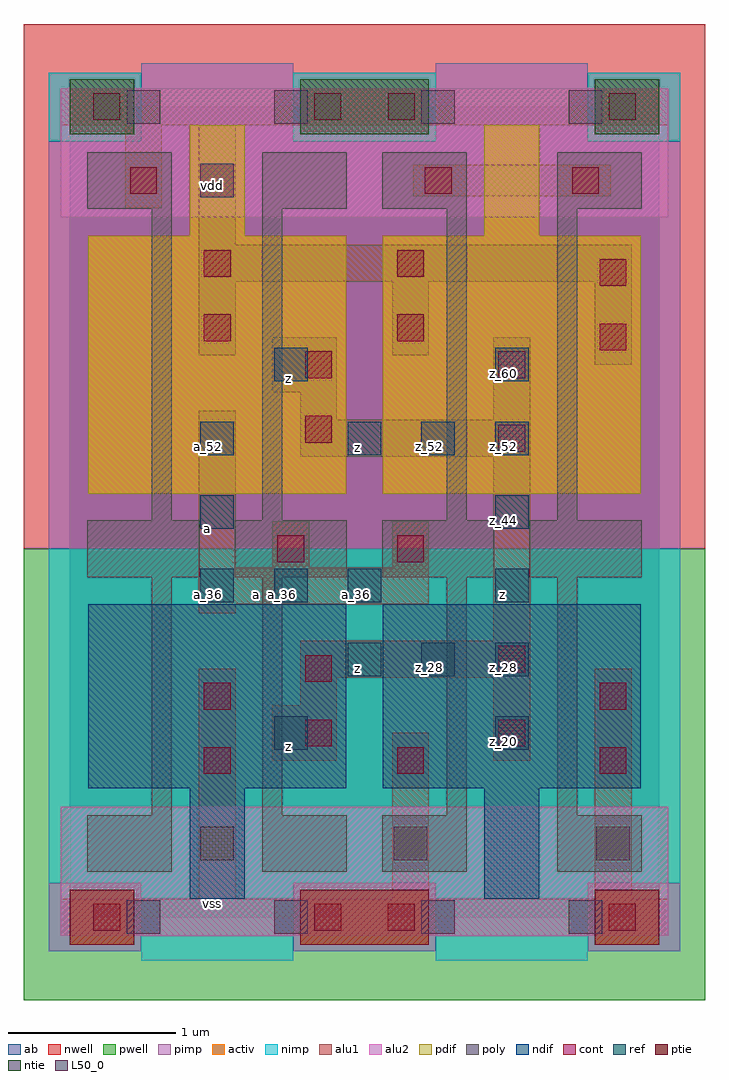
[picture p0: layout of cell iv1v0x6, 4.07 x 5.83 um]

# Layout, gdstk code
import gdstk
lib = gdstk.Library(unit=1e-6, precision=2.5e-09)
def R(c, l, rs):  # rectangles x0, y0, x1, y1
    for r in rs: c.add(gdstk.rectangle(r[:2], r[2:], *l))
def A(c, l, x, y, w, h, nx, ny, dx, dy):  # array of equal rectangles
    R(c, l, [(x+i*dx, y+j*dy, x+i*dx+w, y+j*dy+h) for i in range(nx) for j in range(ny)])
ndif = (3, 0)
pdif = (4, 0)
ntie = (5, 0)
ptie = (6, 0)
ref = (24, 0)
cont = (25, 0)
pwell = (41, 0)
nwell = (42, 0)
activ = (43, 0)
pimp = (44, 0)
nimp = (45, 0)
poly = (46, 0)
alu1 = (49, 0)
L50_0 = (50, 0)
alu2 = (51, 0)
ab = (63, 0)

iv1v0x6 = lib.new_cell('iv1v0x6')
R(iv1v0x6, ndif, [(0.715,0.11,1.045,0.77), (2.475,0.11,2.805,0.77), (0.11,0.77,1.65,1.87), (1.87,0.77,3.41,1.87)])
R(iv1v0x6, pdif, [(0.11,2.53,1.65,4.07), (1.87,2.53,3.41,4.07), (0.715,4.07,1.045,4.73), (2.475,4.07,2.805,4.73)])
R(iv1v0x6, ntie, [(0,4.675,0.385,5.005), (1.375,4.675,2.145,5.005), (3.135,4.675,3.52,5.005)])
R(iv1v0x6, ptie, [(0,-0.165,0.385,0.165), (1.375,-0.165,2.145,0.165), (3.135,-0.165,3.52,0.165)])
A(iv1v0x6, ref, 1.66, 1.44, 0.2, 0.2, 3, 2, 0.44, 1.32)
A(iv1v0x6, ref, 0.78, 1.88, 0.2, 0.2, 3, 1, 0.44, 0)
R(iv1v0x6, ref, [(1.22,1,1.42,1.2), (2.54,1,2.74,1.2), (2.54,1.88,2.74,2.08), (0.78,2.32,0.98,2.52), (2.54,2.32,2.74,2.52), (0.78,2.76,0.98,2.96), (1.22,3.2,1.42,3.4), (2.54,3.2,2.74,3.4)])
R(iv1v0x6, cont, [(0.14,-0.08,0.3,0.08), (1.46,-0.08,1.62,0.08), (1.9,-0.08,2.06,0.08), (3.22,-0.08,3.38,0.08), (0.8,0.855,0.96,1.015), (1.955,0.855,2.115,1.015), (3.165,0.855,3.325,1.015), (1.405,1.02,1.565,1.18), (2.56,1.02,2.72,1.18), (0.8,1.24,0.96,1.4), (3.165,1.24,3.325,1.4), (1.405,1.405,1.565,1.565), (2.56,1.46,2.72,1.62), (1.24,2.12,1.4,2.28), (1.955,2.12,2.115,2.28), (2.56,2.78,2.72,2.94), (1.405,2.835,1.565,2.995), (1.405,3.22,1.565,3.38), (2.56,3.22,2.72,3.38), (3.165,3.385,3.325,3.545), (0.8,3.44,0.96,3.6), (1.955,3.44,2.115,3.6), (3.165,3.77,3.325,3.93), (0.8,3.825,0.96,3.985), (1.955,3.825,2.115,3.985), (0.36,4.32,0.52,4.48), (2.12,4.32,2.28,4.48), (3,4.32,3.16,4.48), (0.14,4.76,0.3,4.92), (1.46,4.76,1.62,4.92), (1.9,4.76,2.06,4.92), (3.22,4.76,3.38,4.92)])
R(iv1v0x6, pwell, [(-0.275,-0.495,3.795,2.2)])
R(iv1v0x6, nwell, [(-0.275,2.2,3.795,5.335)])
R(iv1v0x6, activ, [(0,-0.165,0.385,0.165), (1.375,-0.165,2.145,0.165), (3.135,-0.165,3.52,0.165), (0.715,0.11,1.045,0.77), (2.475,0.11,2.805,0.77), (0.11,0.77,1.65,1.87), (1.87,0.77,3.41,1.87), (0.11,2.53,1.65,4.07), (1.87,2.53,3.41,4.07), (0.715,4.07,1.045,4.73), (2.475,4.07,2.805,4.73), (0,4.675,0.385,5.005), (1.375,4.675,2.145,5.005), (3.135,4.675,3.52,5.005)])
R(iv1v0x6, pimp, [(-0.125,-0.205,0.425,0.205), (1.335,-0.205,2.185,0.205), (3.095,-0.205,3.645,0.205), (-0.125,2.2,3.645,4.635), (0.425,4.635,1.335,5.1), (2.185,4.635,3.095,5.1)])
R(iv1v0x6, nimp, [(0.425,-0.26,1.335,0.205), (2.185,-0.26,3.095,0.205), (-0.125,0.205,3.645,2.2), (-0.125,4.635,0.425,5.045), (1.335,4.635,2.185,5.045), (3.095,4.635,3.645,5.045)])
A(iv1v0x6, poly, 0.105, 2.03, 0.67, 0.34, 4, 1, 0.88, 0)
R(iv1v0x6, poly, [(0.105,0.27,0.61,0.61), (1.15,0.27,1.655,0.61), (1.865,0.27,2.37,0.61), (2.91,0.27,3.415,0.61), (0.49,0.61,0.61,2.03), (1.15,0.61,1.27,2.03), (2.25,0.61,2.37,2.03), (2.91,0.61,3.03,2.03), (0.49,2.37,0.61,4.23), (1.15,2.37,1.27,4.23), (2.25,2.37,2.37,4.23), (2.91,2.37,3.03,4.23), (0.105,4.23,0.61,4.57), (1.15,4.23,1.655,4.57), (1.865,4.23,2.37,4.57), (2.91,4.23,3.415,4.57)])
R(iv1v0x6, alu1, [(-0.055,-0.11,3.575,0.11), (0.77,0.11,0.99,1.485), (1.925,0.11,2.145,1.1), (3.135,0.11,3.355,1.485), (1.21,0.935,1.595,1.265), (2.53,0.935,2.75,1.43), (1.375,1.265,1.595,1.43), (1.375,1.43,2.75,1.65), (2.53,1.65,2.75,2.75), (0.77,1.815,0.99,1.87), (0.77,1.87,2.145,2.09), (0.77,2.09,0.99,3.025), (1.21,2.09,1.43,2.365), (1.925,2.09,2.145,2.365), (1.375,2.75,2.75,2.97), (1.375,2.97,1.595,3.135), (2.53,2.97,2.75,3.465), (1.21,3.135,1.595,3.465), (3.135,3.3,3.355,3.795), (0.77,3.355,0.99,3.795), (1.925,3.355,2.145,3.795), (0.77,3.795,3.355,4.015), (0.77,4.015,0.99,4.73), (0.33,4.235,0.55,4.73), (2.05,4.305,3.23,4.495), (-0.055,4.73,3.575,4.95)])
A(iv1v0x6, L50_0, 0.34, -0.1, 0.2, 0.2, 4, 2, 0.88, 4.84)
R(iv1v0x6, L50_0, [(0.78,0.34,0.98,0.54), (1.935,0.34,2.135,0.54), (3.145,0.34,3.345,0.54), (0.78,4.3,0.98,4.5)])
R(iv1v0x6, alu2, [(-0.055,-0.11,3.575,0.66), (-0.055,4.18,3.575,4.95)])
R(iv1v0x6, ab, [(0,0,3.52,4.84)])
iv1v0x6.add(gdstk.Label('z', (1.305,1.0175), layer=49, texttype=0))
iv1v0x6.add(gdstk.Label('z', (1.7175,1.485), layer=49, texttype=0))
iv1v0x6.add(gdstk.Label('z', (2.585,1.925), layer=49, texttype=0))
iv1v0x6.add(gdstk.Label('a', (1.1125,1.925), layer=49, texttype=0))
iv1v0x6.add(gdstk.Label('z', (1.7175,2.805), layer=49, texttype=0))
iv1v0x6.add(gdstk.Label('a', (0.825,2.3225), layer=49, texttype=0))
iv1v0x6.add(gdstk.Label('z', (1.305,3.2175), layer=49, texttype=0))
iv1v0x6.add(gdstk.Label('vss', (0.8525,0.0825), layer=51, texttype=0))
iv1v0x6.add(gdstk.Label('vdd', (0.8525,4.3725), layer=51, texttype=0))
iv1v0x6.add(gdstk.Label('z_60', (2.59,3.25), layer=24, texttype=0))
iv1v0x6.add(gdstk.Label('z_20', (2.59,1.05), layer=24, texttype=0))
iv1v0x6.add(gdstk.Label('z_52', (2.15,2.81), layer=24, texttype=0))
iv1v0x6.add(gdstk.Label('z_28', (2.15,1.49), layer=24, texttype=0))
iv1v0x6.add(gdstk.Label('z_28', (1.71,1.49), layer=24, texttype=0))
iv1v0x6.add(gdstk.Label('z_52', (1.71,2.81), layer=24, texttype=0))
iv1v0x6.add(gdstk.Label('z_52', (2.59,2.81), layer=24, texttype=0))
iv1v0x6.add(gdstk.Label('z_28', (2.59,1.49), layer=24, texttype=0))
iv1v0x6.add(gdstk.Label('a_36', (1.27,1.93), layer=24, texttype=0))
iv1v0x6.add(gdstk.Label('a_36', (1.71,1.93), layer=24, texttype=0))
iv1v0x6.add(gdstk.Label('z_44', (2.59,2.37), layer=24, texttype=0))
iv1v0x6.add(gdstk.Label('z_36', (2.59,1.93), layer=24, texttype=0))
iv1v0x6.add(gdstk.Label('z_60', (1.27,3.25), layer=24, texttype=0))
iv1v0x6.add(gdstk.Label('z_20', (1.27,1.05), layer=24, texttype=0))
iv1v0x6.add(gdstk.Label('a_36', (0.83,1.93), layer=24, texttype=0))
iv1v0x6.add(gdstk.Label('a_44', (0.83,2.37), layer=24, texttype=0))
iv1v0x6.add(gdstk.Label('a_52', (0.83,2.81), layer=24, texttype=0))

lib.write_gds('iv1v0x6.gds')
